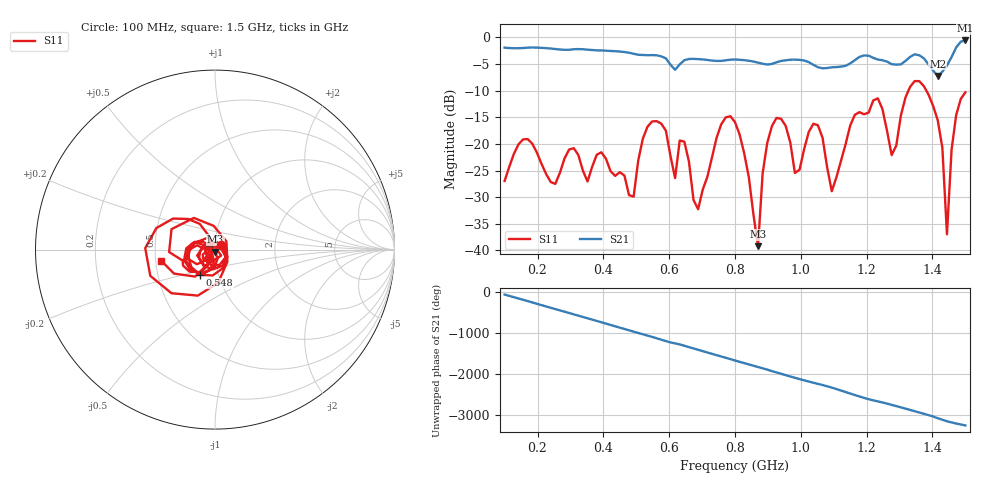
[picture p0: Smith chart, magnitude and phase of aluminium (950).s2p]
! NanoVNA-App
! Date: 2025-09-25 15:02:40
! Start: 100MHz Stop: 1,5GHz Points: 101
! S-Parameter data: F S11 S21 S12 S22
# Hz S RI R 50
!  Frequency  S11_Real  S11_Imag  S21_Real  S21_Imag  S12_Real  S12_Imag  S22_Real  S22_Imag
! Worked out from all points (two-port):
!   101 points, 100 MHz to 1.5 GHz, reference 50 ohm
!   highest |S21| = -0.57 dB at 1.5 GHz (marker M1); lowest = -7.3 dB at 1.416 GHz (marker M2)
!   |S21| within 3 dB of the highest: start of sweep to 576.7 MHz; 1.459 GHz to end of sweep (the widest 2 of 4)
!   lowest |S11| = -39.2 dB at 870 MHz (marker M3), VSWR 1.02, Z = 50.2 - j1.08 ohm
!   |S11| at or under -10 dB: start of sweep to 1.327 GHz; 1.381 GHz to end of sweep
!   S12 and S22 are empty: the file has one direction only
!   S11 on the Smith chart (normalised r, x): 100 MHz: 1.07, +0.06; 548 MHz: 0.82, -0.24; 1.5 GHz: 0.54, -0.07
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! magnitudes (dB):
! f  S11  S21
! 100 MHz  -27.0  -1.9
! 156 MHz  -19.2  -2.0
! 338 MHz  -25.0  -2.2
! 492 MHz  -29.9  -3.1
! 548 MHz  -15.8  -3.3
! 576 MHz  -16.2  -3.5
! 618 MHz  -26.4  -6.1
! 646 MHz  -19.6  -4.3
! 688 MHz  -32.3  -4.1
! 800 MHz  -15.9  -4.1
! 870 MHz  -39.2  -4.7
! 912 MHz  -16.7  -5.0
! 982 MHz  -25.5  -4.2
! 1.038 GHz  -16.2  -5.1
! 1.094 GHz  -28.9  -5.6
! 1.22 GHz  -11.8  -3.8
! 1.276 GHz  -22.1  -5.0
! 1.346 GHz  -8.2  -3.2
! 1.416 GHz  -15.6  -7.3
! 1.444 GHz  -37.0  -5.3
! 1.458 GHz  -21.1  -3.7
! 1.5 GHz  -10.3  -0.6
